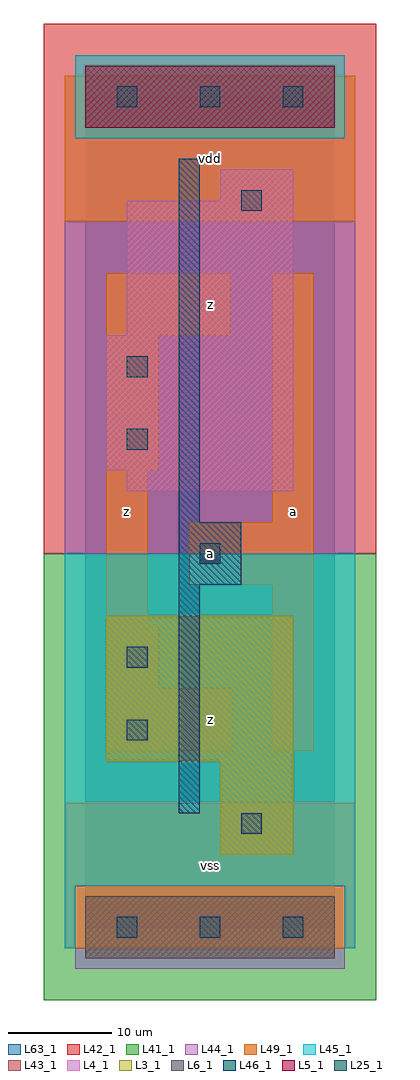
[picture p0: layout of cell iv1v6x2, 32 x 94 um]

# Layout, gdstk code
import gdstk
lib = gdstk.Library(unit=1e-6, precision=1e-09)
def R(c, l, rs):  # rectangles x0, y0, x1, y1
    for r in rs: c.add(gdstk.rectangle(r[:2], r[2:], *l))
def A(c, l, x, y, w, h, nx, ny, dx, dy):  # array of equal rectangles
    R(c, l, [(x+i*dx, y+j*dy, x+i*dx+w, y+j*dy+h) for i in range(nx) for j in range(ny)])
L3_1 = (3, 1)
L4_1 = (4, 1)
L5_1 = (5, 1)
L6_1 = (6, 1)
L25_1 = (25, 1)
L41_1 = (41, 1)
L42_1 = (42, 1)
L43_1 = (43, 1)
L44_1 = (44, 1)
L45_1 = (45, 1)
L46_1 = (46, 1)
L49_1 = (49, 1)
L63_1 = (63, 1)

iv1v6x2 = lib.new_cell('iv1v6x2')
R(iv1v6x2, L3_1, [(13,7,20,16), (2,16,20,30)])
R(iv1v6x2, L4_1, [(4,42,20,44), (2,44,20,57), (4,57,20,70), (13,70,20,73)])
R(iv1v6x2, L5_1, [(0,77,24,83)])
R(iv1v6x2, L6_1, [(0,-3,24,3), (0,-3,24,3)])
A(iv1v6x2, L25_1, 3, -1, 2, 2, 3, 2, 8, 80)
R(iv1v6x2, L25_1, [(15,9,17,11), (4,18,6,20), (4,25,6,27), (11,35,13,37), (4,46,6,48), (4,53,6,55), (15,69,17,71)])
R(iv1v6x2, L41_1, [(-4,-7,28,36)])
R(iv1v6x2, L42_1, [(-4,36,28,87)])
R(iv1v6x2, L43_1, [(0,-3,24,3), (13,7,20,16), (2,16,20,30), (4,42,20,44), (2,44,20,57), (4,57,20,70), (13,70,20,73), (0,77,24,83)])
R(iv1v6x2, L44_1, [(-1,-4,25,4), (-2,36,26,76), (-2,76,-1,82), (25,76,26,82)])
R(iv1v6x2, L45_1, [(-2,-2,-1,4), (25,-2,26,4), (-2,4,26,36), (-1,76,25,84)])
R(iv1v6x2, L46_1, [(9,11,11,33), (9,33,15,39), (9,39,11,74)])
R(iv1v6x2, L49_1, [(-2,-2,26,12), (2,17,14,23), (18,17,22,33), (2,23,7,29), (2,29,6,44), (10,33,22,39), (18,39,22,63), (2,44,7,57), (2,57,14,63), (-2,68,26,82)])
R(iv1v6x2, L63_1, [(0,0,24,80)])
iv1v6x2.add(gdstk.Label('z', (4,40), layer=49, texttype=1))
iv1v6x2.add(gdstk.Label('vss', (12,6), layer=49, texttype=1))
iv1v6x2.add(gdstk.Label('z', (12,20), layer=49, texttype=1))
iv1v6x2.add(gdstk.Label('a', (12,36), layer=49, texttype=1))
iv1v6x2.add(gdstk.Label('z', (12,60), layer=49, texttype=1))
iv1v6x2.add(gdstk.Label('vdd', (12,74), layer=49, texttype=1))
iv1v6x2.add(gdstk.Label('a', (20,40), layer=49, texttype=1))

lib.write_gds('iv1v6x2.gds')
